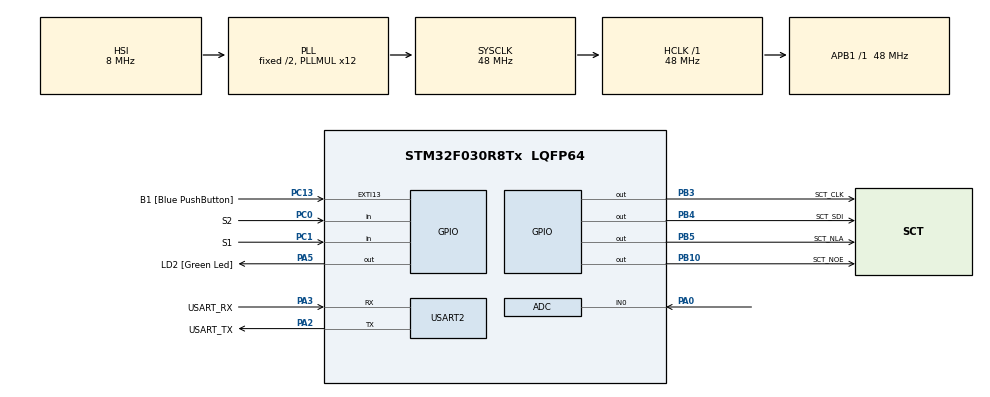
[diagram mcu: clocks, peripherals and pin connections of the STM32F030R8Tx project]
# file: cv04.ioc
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ADC.ContinuousConvMode=ENABLE
ADC.Overrun=ADC_OVR_DATA_OVERWRITTEN
ADC.SamplingTime=ADC_SAMPLETIME_239CYCLES_5
Mcu.Family=STM32F0
Mcu.Name=STM32F030R8Tx
Mcu.Package=LQFP64
NVIC.ADC1_IRQn=true\:0\:0\:false\:false\:true\:true\:true\:true
PA0.Mode=IN0
PA0.Signal=ADC_IN0
PA13.GPIO_Label=TMS
PA13.Mode=Serial_Wire
PA13.Signal=SYS_SWDIO
PA14.GPIO_Label=TCK
PA14.Mode=Serial_Wire
PA14.Signal=SYS_SWCLK
PA2.GPIO_Label=USART_TX
PA2.GPIO_Mode=GPIO_MODE_AF_PP
PA2.GPIO_PuPd=GPIO_NOPULL
PA2.GPIO_Speed=GPIO_SPEED_FREQ_LOW
PA2.Mode=Asynchronous
PA2.Signal=USART2_TX
PA3.GPIO_Label=USART_RX
PA3.GPIO_Mode=GPIO_MODE_AF_PP
PA3.GPIO_PuPd=GPIO_NOPULL
PA3.GPIO_Speed=GPIO_SPEED_FREQ_LOW
PA3.Mode=Asynchronous
PA3.Signal=USART2_RX
PA5.GPIO_Label=LD2 [Green Led]
PA5.GPIO_Mode=GPIO_MODE_OUTPUT_PP
PA5.GPIO_PuPd=GPIO_NOPULL
PA5.GPIO_Speed=GPIO_SPEED_FREQ_LOW
PA5.Signal=GPIO_Output
PB10.GPIO_Label=SCT_NOE
PB10.Signal=GPIO_Output
PB3.GPIO_Label=SCT_CLK
PB3.Signal=GPIO_Output
PB4.GPIO_Label=SCT_SDI
PB4.Signal=GPIO_Output
PB5.GPIO_Label=SCT_NLA
PB5.Signal=GPIO_Output
PC0.GPIO_Label=S2
PC0.GPIO_PuPd=GPIO_PULLUP
PC0.Signal=GPIO_Input
PC1.GPIO_Label=S1
PC1.GPIO_PuPd=GPIO_PULLUP
PC1.Signal=GPIO_Input
PC13.GPIO_Label=B1 [Blue PushButton]
PC13.GPIO_ModeDefaultEXTI=GPIO_MODE_IT_FALLING
PC13.Signal=GPXTI13
PC14-OSC32_IN.Mode=LSE-External-Oscillator
PC14-OSC32_IN.Signal=RCC_OSC32_IN
PC15-OSC32_OUT.Mode=LSE-External-Oscillator
PC15-OSC32_OUT.Signal=RCC_OSC32_OUT
PF0-OSC_IN.Mode=HSE-External-Clock-Source
PF0-OSC_IN.Signal=RCC_OSC_IN
PF1-OSC_OUT.Signal=RCC_OSC_OUT
ProjectManager.HeapSize=0x200
ProjectManager.StackSize=0x400
ProjectManager.TargetToolchain=STM32CubeIDE
RCC.AHBFreq_Value=48000000
RCC.APB1Freq_Value=48000000
RCC.APB1TimFreq_Value=48000000
RCC.HCLKFreq_Value=48000000
RCC.PLLMUL=RCC_PLL_MUL12
RCC.SYSCLKFreq_VALUE=48000000
RCC.SYSCLKSource=RCC_SYSCLKSOURCE_PLLCLK
USART2.VirtualMode-Asynchronous=VM_ASYNC
VP_ADC_TempSens_Input.Mode=IN-TempSens
VP_ADC_Vref_Input.Mode=IN-Vrefint
board=NUCLEO-F030R8

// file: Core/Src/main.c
/* USER CODE BEGIN Header */
/**
  ******************************************************************************
  * @file           : main.c
  * @brief          : Main program body
  ******************************************************************************
  * @attention
  *
  * Copyright (c) 2024 STMicroelectronics.
  * All rights reserved.
  *
  * This software is licensed under terms that can be found in the LICENSE file
  * in the root directory of this software component.
  * If no LICENSE file comes with this software, it is provided AS-IS.
  *
  ******************************************************************************
  */
/* USER CODE END Header */
#include "main.h"

/* USER CODE BEGIN Includes */
#include "sct.h"
/* USER CODE END Includes */

/* USER CODE BEGIN PD */
#define ADC_Q 12
/* Temperature sensor calibration value address */
#define TEMP110_CAL_ADDR ((uint16_t*) ((uint32_t) 0x1FFFF7C2))
#define TEMP30_CAL_ADDR ((uint16_t*) ((uint32_t) 0x1FFFF7B8))
/* Internal voltage reference calibration value address */
#define VREFINT_CAL_ADDR ((uint16_t*) ((uint32_t) 0x1FFFF7BA))
/* USER CODE END PD */

ADC_HandleTypeDef hadc;

UART_HandleTypeDef huart2;

/* USER CODE BEGIN PV */
static volatile uint32_t raw_pot;
static volatile uint32_t raw_temp;
static volatile uint32_t raw_volt;
/* USER CODE END PV */

void SystemClock_Config(void);
static void MX_GPIO_Init(void);
static void MX_USART2_UART_Init(void);
static void MX_ADC_Init(void);

/* USER CODE BEGIN 0 */
void HAL_ADC_ConvCpltCallback(ADC_HandleTypeDef* hadc)
{
 //raw_pot = HAL_ADC_GetValue(hadc);
 static uint32_t avg_pot;
 static uint8_t channel;
 switch (channel) {
 	 case 0:
 		 raw_pot = avg_pot >> ADC_Q;
		 avg_pot -= raw_pot;
		 avg_pot += HAL_ADC_GetValue(hadc);
		 break;
 	 case 1:
 		 raw_temp = HAL_ADC_GetValue(hadc);
 		 break;
 	 case 2:
 		 raw_volt = HAL_ADC_GetValue(hadc);
 		 break;
 }
 if (__HAL_ADC_GET_FLAG(hadc, ADC_FLAG_EOS)) channel = 0;
 else channel++;

}
/* USER CODE END 0 */

int main(void)
{

  /* MCU Configuration--------------------------------------------------------*/

  /* Reset of all peripherals, Initializes the Flash interface and the Systick. */
  HAL_Init();

  /* Configure the system clock */
  SystemClock_Config();

  /* Initialize all configured peripherals */
  MX_GPIO_Init();
  MX_USART2_UART_Init();
  MX_ADC_Init();
  /* USER CODE BEGIN 2 */
  sct_init();
  HAL_ADCEx_Calibration_Start(&hadc);
  HAL_ADC_Start_IT(&hadc);

  static enum { SHOW_POT, SHOW_VOLT, SHOW_TEMP } state = SHOW_POT;
  static uint32_t button;
  /* USER CODE END 2 */
  /* Infinite loop */
  while (1)
  {

    /* USER CODE BEGIN 3 */
	  if (!HAL_GPIO_ReadPin(S1_GPIO_Port,S1_Pin))
	  {
		button = HAL_GetTick();
		state = SHOW_VOLT;

	  }
	  if (!HAL_GPIO_ReadPin(S2_GPIO_Port,S2_Pin))
	  {
		  button = HAL_GetTick();
		  state = SHOW_TEMP;
	  }
	  if ((HAL_GetTick()-button) > 2000)
	  {
		  state = SHOW_POT;
	  }
	  switch (state)
	  {
	  	  case SHOW_POT:
	  	  {
	  		  sct_value((raw_pot*501)/4096,(raw_pot*9)/4096);
	  	  }
	  	  break;
	  	  case SHOW_TEMP:
	  	  {
	  		  int32_t temperature = (raw_temp - (int32_t)(*TEMP30_CAL_ADDR));
	  	  	  temperature = temperature * (int32_t)(110 - 30);
	  	  	  temperature = temperature / (int32_t)(*TEMP110_CAL_ADDR - *TEMP30_CAL_ADDR);
	  	  	  temperature = temperature + 30;
	  	  	  sct_value(temperature, 0);
	  	  }
	  	  break;
	  	  case SHOW_VOLT:
	  	  {
	  		uint32_t voltage = 330 * (*VREFINT_CAL_ADDR) / raw_volt;
	  		sct_value(voltage, 0);
	  	  }
	  	  break;
	  }
	  //sct_value((raw_pot*501)/4096,(raw_pot*9)/4096);
	  HAL_Delay(50);
  }
  /* USER CODE END 3 */
}

void SystemClock_Config(void)
{
  RCC_OscInitTypeDef RCC_OscInitStruct = {0};
  RCC_ClkInitTypeDef RCC_ClkInitStruct = {0};

  /** Initializes the RCC Oscillators according to the specified parameters
  * in the RCC_OscInitTypeDef structure.
  */
  RCC_OscInitStruct.OscillatorType = RCC_OSCILLATORTYPE_HSI|RCC_OSCILLATORTYPE_HSI14;
  RCC_OscInitStruct.HSIState = RCC_HSI_ON;
  RCC_OscInitStruct.HSI14State = RCC_HSI14_ON;
  RCC_OscInitStruct.HSICalibrationValue = RCC_HSICALIBRATION_DEFAULT;
  RCC_OscInitStruct.HSI14CalibrationValue = 16;
  RCC_OscInitStruct.PLL.PLLState = RCC_PLL_ON;
  RCC_OscInitStruct.PLL.PLLSource = RCC_PLLSOURCE_HSI;
  RCC_OscInitStruct.PLL.PLLMUL = RCC_PLL_MUL12;
  RCC_OscInitStruct.PLL.PREDIV = RCC_PREDIV_DIV1;
  if (HAL_RCC_OscConfig(&RCC_OscInitStruct) != HAL_OK)
  {
    Error_Handler();
  }

  /** Initializes the CPU, AHB and APB buses clocks
  */
  RCC_ClkInitStruct.ClockType = RCC_CLOCKTYPE_HCLK|RCC_CLOCKTYPE_SYSCLK
                              |RCC_CLOCKTYPE_PCLK1;
  RCC_ClkInitStruct.SYSCLKSource = RCC_SYSCLKSOURCE_PLLCLK;
  RCC_ClkInitStruct.AHBCLKDivider = RCC_SYSCLK_DIV1;
  RCC_ClkInitStruct.APB1CLKDivider = RCC_HCLK_DIV1;

  if (HAL_RCC_ClockConfig(&RCC_ClkInitStruct, FLASH_LATENCY_1) != HAL_OK)
  {
    Error_Handler();
  }
}

static void MX_ADC_Init(void)
{

  ADC_ChannelConfTypeDef sConfig = {0};

  /** Configure the global features of the ADC (Clock, Resolution, Data Alignment and number of conversion)
  */
  hadc.Instance = ADC1;
  hadc.Init.ClockPrescaler = ADC_CLOCK_ASYNC_DIV1;
  hadc.Init.Resolution = ADC_RESOLUTION_12B;
  hadc.Init.DataAlign = ADC_DATAALIGN_RIGHT;
  hadc.Init.ScanConvMode = ADC_SCAN_DIRECTION_FORWARD;
  hadc.Init.EOCSelection = ADC_EOC_SINGLE_CONV;
  hadc.Init.LowPowerAutoWait = DISABLE;
  hadc.Init.LowPowerAutoPowerOff = DISABLE;
  hadc.Init.ContinuousConvMode = ENABLE;
  hadc.Init.DiscontinuousConvMode = DISABLE;
  hadc.Init.ExternalTrigConv = ADC_SOFTWARE_START;
  hadc.Init.ExternalTrigConvEdge = ADC_EXTERNALTRIGCONVEDGE_NONE;
  hadc.Init.DMAContinuousRequests = DISABLE;
  hadc.Init.Overrun = ADC_OVR_DATA_OVERWRITTEN;
  if (HAL_ADC_Init(&hadc) != HAL_OK)
  {
    Error_Handler();
  }

  /** Configure for the selected ADC regular channel to be converted.
  */
  sConfig.Channel = ADC_CHANNEL_0;
  sConfig.Rank = ADC_RANK_CHANNEL_NUMBER;
  sConfig.SamplingTime = ADC_SAMPLETIME_239CYCLES_5;
  if (HAL_ADC_ConfigChannel(&hadc, &sConfig) != HAL_OK)
  {
    Error_Handler();
  }

  /** Configure for the selected ADC regular channel to be converted.
  */
  sConfig.Channel = ADC_CHANNEL_TEMPSENSOR;
  if (HAL_ADC_ConfigChannel(&hadc, &sConfig) != HAL_OK)
  {
    Error_Handler();
  }

  /** Configure for the selected ADC regular channel to be converted.
  */
  sConfig.Channel = ADC_CHANNEL_VREFINT;
  if (HAL_ADC_ConfigChannel(&hadc, &sConfig) != HAL_OK)
  {
    Error_Handler();
  }

}

static void MX_USART2_UART_Init(void)
{

  huart2.Instance = USART2;
  huart2.Init.BaudRate = 38400;
  huart2.Init.WordLength = UART_WORDLENGTH_8B;
  huart2.Init.StopBits = UART_STOPBITS_1;
  huart2.Init.Parity = UART_PARITY_NONE;
  huart2.Init.Mode = UART_MODE_TX_RX;
  huart2.Init.HwFlowCtl = UART_HWCONTROL_NONE;
  huart2.Init.OverSampling = UART_OVERSAMPLING_16;
  huart2.Init.OneBitSampling = UART_ONE_BIT_SAMPLE_DISABLE;
  huart2.AdvancedInit.AdvFeatureInit = UART_ADVFEATURE_NO_INIT;
  if (HAL_UART_Init(&huart2) != HAL_OK)
  {
    Error_Handler();
  }

}

static void MX_GPIO_Init(void)
{
  GPIO_InitTypeDef GPIO_InitStruct = {0};

  /* GPIO Ports Clock Enable */
  __HAL_RCC_GPIOC_CLK_ENABLE();
  __HAL_RCC_GPIOF_CLK_ENABLE();
  __HAL_RCC_GPIOA_CLK_ENABLE();
  __HAL_RCC_GPIOB_CLK_ENABLE();

  /*Configure GPIO pin Output Level */
  HAL_GPIO_WritePin(LD2_GPIO_Port, LD2_Pin, GPIO_PIN_RESET);

  /*Configure GPIO pin Output Level */
  HAL_GPIO_WritePin(GPIOB, SCT_NOE_Pin|SCT_CLK_Pin|SCT_SDI_Pin|SCT_NLA_Pin, GPIO_PIN_RESET);

  /*Configure GPIO pin : B1_Pin */
  GPIO_InitStruct.Pin = B1_Pin;
  GPIO_InitStruct.Mode = GPIO_MODE_IT_FALLING;
  GPIO_InitStruct.Pull = GPIO_NOPULL;
  HAL_GPIO_Init(B1_GPIO_Port, &GPIO_InitStruct);

  /*Configure GPIO pins : S2_Pin S1_Pin */
  GPIO_InitStruct.Pin = S2_Pin|S1_Pin;
  GPIO_InitStruct.Mode = GPIO_MODE_INPUT;
  GPIO_InitStruct.Pull = GPIO_PULLUP;
  HAL_GPIO_Init(GPIOC, &GPIO_InitStruct);

  /*Configure GPIO pin : LD2_Pin */
  GPIO_InitStruct.Pin = LD2_Pin;
  GPIO_InitStruct.Mode = GPIO_MODE_OUTPUT_PP;
  GPIO_InitStruct.Pull = GPIO_NOPULL;
  GPIO_InitStruct.Speed = GPIO_SPEED_FREQ_LOW;
  HAL_GPIO_Init(LD2_GPIO_Port, &GPIO_InitStruct);

  /*Configure GPIO pins : SCT_NOE_Pin SCT_CLK_Pin SCT_SDI_Pin SCT_NLA_Pin */
  GPIO_InitStruct.Pin = SCT_NOE_Pin|SCT_CLK_Pin|SCT_SDI_Pin|SCT_NLA_Pin;
  GPIO_InitStruct.Mode = GPIO_MODE_OUTPUT_PP;
  GPIO_InitStruct.Pull = GPIO_NOPULL;
  GPIO_InitStruct.Speed = GPIO_SPEED_FREQ_LOW;
  HAL_GPIO_Init(GPIOB, &GPIO_InitStruct);

}

void Error_Handler(void)
{
  __disable_irq();
  while (1)
  {
  }
}
